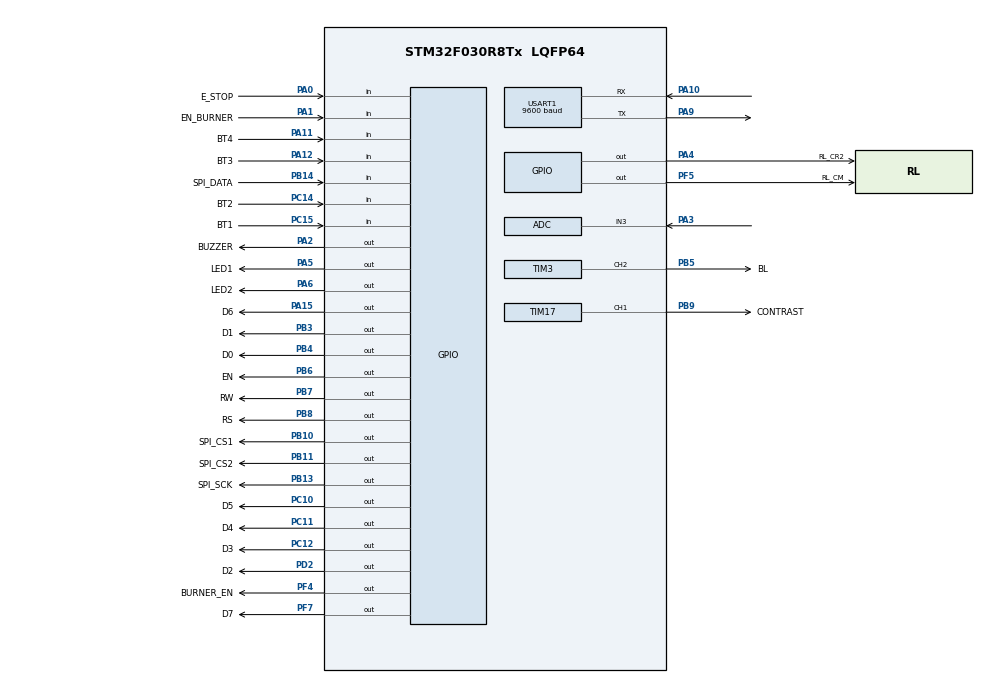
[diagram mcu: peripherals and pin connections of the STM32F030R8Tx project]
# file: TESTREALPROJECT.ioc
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Mcu.Family=STM32F0
Mcu.Name=STM32F030R8Tx
Mcu.Package=LQFP64
NVIC.TIM15_IRQn=true\:0\:0\:false\:false\:true\:true\:true
NVIC.TIM6_IRQn=true\:0\:0\:false\:false\:true\:true\:true
NVIC.USART1_IRQn=true\:0\:0\:false\:false\:true\:true\:true
PA0.GPIO_Label=E_STOP
PA0.GPIO_PuPd=GPIO_PULLUP
PA0.Signal=GPIO_Input
PA1.GPIO_Label=EN_BURNER
PA1.GPIO_PuPd=GPIO_PULLUP
PA1.Signal=GPIO_Input
PA10.Mode=Asynchronous
PA10.Signal=USART1_RX
PA11.GPIO_Label=BT4
PA11.GPIO_PuPd=GPIO_PULLUP
PA11.Signal=GPIO_Input
PA12.GPIO_Label=BT3
PA12.GPIO_PuPd=GPIO_PULLUP
PA12.Signal=GPIO_Input
PA13.Mode=Serial_Wire
PA13.Signal=SYS_SWDIO
PA14.Mode=Serial_Wire
PA14.Signal=SYS_SWCLK
PA15.GPIO_Label=D6
PA15.Signal=GPIO_Output
PA2.GPIO_Label=BUZZER
PA2.Signal=GPIO_Output
PA3.Mode=IN3
PA3.Signal=ADC_IN3
PA4.GPIO_Label=RL_CR2
PA4.Signal=GPIO_Output
PA5.GPIO_Label=LED1
PA5.Signal=GPIO_Output
PA6.GPIO_Label=LED2
PA6.Signal=GPIO_Output
PA9.Mode=Asynchronous
PA9.Signal=USART1_TX
PB10.GPIO_Label=SPI_CS1
PB10.GPIO_PuPd=GPIO_PULLUP
PB10.GPIO_Speed=GPIO_SPEED_FREQ_HIGH
PB10.Signal=GPIO_Output
PB11.GPIO_Label=SPI_CS2
PB11.GPIO_PuPd=GPIO_PULLUP
PB11.GPIO_Speed=GPIO_SPEED_FREQ_HIGH
PB11.Signal=GPIO_Output
PB13.GPIO_Label=SPI_SCK
PB13.GPIO_PuPd=GPIO_PULLDOWN
PB13.GPIO_Speed=GPIO_SPEED_FREQ_HIGH
PB13.Signal=GPIO_Output
PB14.GPIO_Label=SPI_DATA
PB14.GPIO_PuPd=GPIO_PULLDOWN
PB14.Signal=GPIO_Input
PB3.GPIO_Label=D1
PB3.Signal=GPIO_Output
PB4.GPIO_Label=D0
PB4.Signal=GPIO_Output
PB5.GPIO_Label=BL
PB5.Signal=S_TIM3_CH2
PB6.GPIO_Label=EN
PB6.Signal=GPIO_Output
PB7.GPIO_Label=RW
PB7.Signal=GPIO_Output
PB8.GPIO_Label=RS
PB8.Signal=GPIO_Output
PB9.GPIO_Label=CONTRAST
PB9.Signal=S_TIM17_CH1
PC10.GPIO_Label=D5
PC10.Signal=GPIO_Output
PC11.GPIO_Label=D4
PC11.Signal=GPIO_Output
PC12.GPIO_Label=D3
PC12.Signal=GPIO_Output
PC14-OSC32_IN.GPIO_Label=BT2
PC14-OSC32_IN.GPIO_PuPd=GPIO_PULLUP
PC14-OSC32_IN.Signal=GPIO_Input
PC15-OSC32_OUT.GPIO_Label=BT1
PC15-OSC32_OUT.GPIO_PuPd=GPIO_PULLUP
PC15-OSC32_OUT.Signal=GPIO_Input
PD2.GPIO_Label=D2
PD2.Signal=GPIO_Output
PF4.GPIO_Label=BURNER_EN
PF4.Signal=GPIO_Output
PF5.GPIO_Label=RL_CM
PF5.Signal=GPIO_Output
PF7.GPIO_Label=D7
PF7.Signal=GPIO_Output
ProjectManager.HeapSize=0x200
ProjectManager.StackSize=0x400
ProjectManager.TargetToolchain=MDK-ARM V5.27
SH.S_TIM17_CH1.0=TIM17_CH1,PWM Generation1 CH1
SH.S_TIM3_CH2.0=TIM3_CH2,PWM Generation2 CH2
TIM15.Period=19999
TIM15.Prescaler=399
TIM17.Channel=TIM_CHANNEL_1
TIM17.Period=99
TIM17.Prescaler=7
TIM3.Channel-PWM\ Generation2\ CH2=TIM_CHANNEL_2
TIM3.Period=99
TIM3.Prescaler=7
TIM6.Period=49
TIM6.Prescaler=799
USART1.BaudRate=9600
USART1.VirtualMode-Asynchronous=VM_ASYNC
VP_TIM15_VS_ClockSourceINT.Mode=Internal
VP_TIM17_VS_ClockSourceINT.Mode=Enable_Timer
VP_TIM3_VS_ClockSourceINT.Mode=Internal
VP_TIM6_VS_ClockSourceINT.Mode=Enable_Timer
board=custom

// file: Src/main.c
/* USER CODE BEGIN Header */
/**
  ******************************************************************************
  * @file           : main.c
  * @brief          : Main program body
  ******************************************************************************
  * @attention
  *
  * <h2><center>&copy; Copyright (c) 2023 STMicroelectronics.
  * All rights reserved.</center></h2>
  *
  * This software component is licensed by ST under BSD 3-Clause license,
  * the "License"; You may not use this file except in compliance with the
  * License. You may obtain a copy of the License at:
  *                        opensource.org/licenses/BSD-3-Clause
  *
  ******************************************************************************
  */
/* USER CODE END Header */

#include "main.h"

/* USER CODE BEGIN Includes */
#include "kmi_display.h"
#include "MAX31855.h"
#include "adc.h"
#include "button.h"
#include "stdbool.h"
#include "stateMachine.h"
#include "string.h"
#include "flash.h"
/* USER CODE END Includes */

ADC_HandleTypeDef hadc;

TIM_HandleTypeDef htim3;
TIM_HandleTypeDef htim6;
TIM_HandleTypeDef htim15;
TIM_HandleTypeDef htim17;

UART_HandleTypeDef huart1;

void SystemClock_Config(void);
static void MX_GPIO_Init(void);
static void MX_ADC_Init(void);
static void MX_TIM3_Init(void);
static void MX_TIM6_Init(void);
static void MX_TIM15_Init(void);
static void MX_TIM17_Init(void);
static void MX_USART1_UART_Init(void);

/* USER CODE BEGIN 0 */

float gAsphaltTemp = 0;
float gCombustionTemp = 0;
float gVoltageBattery = 0;
bool gTriggerBurnerWork = 0;
buttonCall_t gButton;

uint8_t backDoorReset = 0;
bool gTriggerBackDoorReset = 0;
userInput_t gUserSetInput;
userInput_t gUserSaveDataTemp;
userInput_t userDefaultValue = {750,730,800,0,0,0,1005,1,0};

tickTimer gFlagTimer;

alarmType_t gAlarmSys;

errorType_t asphErrorTher = NONE;
errorType_t combErrorTher = NONE;

/* USER CODE END 0 */

int main(void)
{

  /* MCU Configuration--------------------------------------------------------*/

  /* Reset of all peripherals, Initializes the Flash interface and the Systick. */
  HAL_Init();

  /* Configure the system clock */
  SystemClock_Config();

  /* Initialize all configured peripherals */
  MX_GPIO_Init();
  MX_ADC_Init();
  MX_TIM3_Init();
  MX_TIM6_Init();
  MX_TIM15_Init();
  MX_TIM17_Init();
  MX_USART1_UART_Init();
  /* USER CODE BEGIN 2 */
  memset(&gButton, 1, 4);
  memset(&gAlarmSys, 1, sizeof(alarmType_t));
  HAL_TIM_Base_Start_IT(&htim6);
  HAL_TIM_Base_Start_IT(&htim15);
	readBothSensor(&gAsphaltTemp, &gCombustionTemp, gUserSetInput, &asphErrorTher, &combErrorTher);
  HAL_Delay(100);
  sensorInit();
  kmi_display_init();
  kmi_change_display(STARTUP_PAGE);
  HAL_Delay(1000);
  kmi_change_display(HOME_PAGE);
  userDataInit(&gUserSetInput, &gUserSaveDataTemp, userDefaultValue);

  /* USER CODE END 2 */

  /* Infinite loop */
  while (1)
  {

    /* USER CODE BEGIN 3 */

    if(gFlagTimer.Time_5ms)
    {
      readBatteryVoltage(hadc, &gVoltageBattery);
      readBothSensor(&gAsphaltTemp, &gCombustionTemp, gUserSetInput, &asphErrorTher, &combErrorTher);
      gFlagTimer.Time_5ms = 0;
    }
    if(gFlagTimer.Time_10ms)
    {
      checkAlarmSystem();
      triggerAlarmSignal();
      gFlagTimer.Time_10ms = 0;
    }
    if(gFlagTimer.Time_50ms)
    {
			readButtonWorking(&gButton);
      onScreenDisplay();
      burnerWorkingCondition(gButton);
#if KEEP_DEBUG
      memset(&gButton, 1, 4);
#endif
      gFlagTimer.Time_50ms = 0;
    }
    if(gFlagTimer.Time_100ms)
    {
      reloadPageNeeded();
      gFlagTimer.Time_100ms = 0;
    }
    if(gFlagTimer.Time_500ms)
    {
      HAL_GPIO_TogglePin(LED1_GPIO_Port,LED1_Pin);
      checkButtonLongTimeDepress();
			resetAlarmSignalByButton(&backDoorReset);
      gFlagTimer.Time_500ms = 0;
    }
    if(gFlagTimer.Time_1000ms)
    {
      blinkAlarmLCD();
      gFlagTimer.Time_1000ms = 0;
    }
    if(gFlagTimer.Time_2s)
    {
      HAL_GPIO_TogglePin(LED2_GPIO_Port,LED2_Pin);
      kmi_display_cover_reset_pw(index);
      gFlagTimer.Time_2s = 0;
    }
    if(gFlagTimer.Time_1hr) // cpRuntime count evey 1 hour, and save to flash
    {
      if(gUserSaveDataTemp.burnerDelaySet > 0)
      {
        gUserSaveDataTemp.burnerDelaySet--;
      }
      else if (gUserSaveDataTemp.burnerDelaySet <= 0)
      {
        gUserSaveDataTemp.burnerDelaySet = 0;
      }

      gUserSaveDataTemp.cpRuntime++;
      memcpy(&gUserSetInput, &gUserSaveDataTemp, USER_WRITE_SIZE);
      userInputWriteFlash(gUserSetInput);
      gFlagTimer.Time_1hr = 0;
    }
  }
  /* USER CODE END 3 */
}

void SystemClock_Config(void)
{
  RCC_OscInitTypeDef RCC_OscInitStruct = {0};
  RCC_ClkInitTypeDef RCC_ClkInitStruct = {0};
  RCC_PeriphCLKInitTypeDef PeriphClkInit = {0};

  /** Initializes the CPU, AHB and APB busses clocks
  */
  RCC_OscInitStruct.OscillatorType = RCC_OSCILLATORTYPE_HSI|RCC_OSCILLATORTYPE_HSI14;
  RCC_OscInitStruct.HSIState = RCC_HSI_ON;
  RCC_OscInitStruct.HSI14State = RCC_HSI14_ON;
  RCC_OscInitStruct.HSICalibrationValue = RCC_HSICALIBRATION_DEFAULT;
  RCC_OscInitStruct.HSI14CalibrationValue = 16;
  RCC_OscInitStruct.PLL.PLLState = RCC_PLL_NONE;
  if (HAL_RCC_OscConfig(&RCC_OscInitStruct) != HAL_OK)
  {
    Error_Handler();
  }
  /** Initializes the CPU, AHB and APB busses clocks
  */
  RCC_ClkInitStruct.ClockType = RCC_CLOCKTYPE_HCLK|RCC_CLOCKTYPE_SYSCLK
                              |RCC_CLOCKTYPE_PCLK1;
  RCC_ClkInitStruct.SYSCLKSource = RCC_SYSCLKSOURCE_HSI;
  RCC_ClkInitStruct.AHBCLKDivider = RCC_SYSCLK_DIV1;
  RCC_ClkInitStruct.APB1CLKDivider = RCC_HCLK_DIV1;

  if (HAL_RCC_ClockConfig(&RCC_ClkInitStruct, FLASH_LATENCY_0) != HAL_OK)
  {
    Error_Handler();
  }
  PeriphClkInit.PeriphClockSelection = RCC_PERIPHCLK_USART1;
  PeriphClkInit.Usart1ClockSelection = RCC_USART1CLKSOURCE_PCLK1;
  if (HAL_RCCEx_PeriphCLKConfig(&PeriphClkInit) != HAL_OK)
  {
    Error_Handler();
  }
}

static void MX_ADC_Init(void)
{

  ADC_ChannelConfTypeDef sConfig = {0};

  /** Configure the global features of the ADC (Clock, Resolution, Data Alignment and number of conversion)
  */
  hadc.Instance = ADC1;
  hadc.Init.ClockPrescaler = ADC_CLOCK_ASYNC_DIV1;
  hadc.Init.Resolution = ADC_RESOLUTION_12B;
  hadc.Init.DataAlign = ADC_DATAALIGN_RIGHT;
  hadc.Init.ScanConvMode = ADC_SCAN_DIRECTION_FORWARD;
  hadc.Init.EOCSelection = ADC_EOC_SINGLE_CONV;
  hadc.Init.LowPowerAutoWait = DISABLE;
  hadc.Init.LowPowerAutoPowerOff = DISABLE;
  hadc.Init.ContinuousConvMode = DISABLE;
  hadc.Init.DiscontinuousConvMode = DISABLE;
  hadc.Init.ExternalTrigConv = ADC_SOFTWARE_START;
  hadc.Init.ExternalTrigConvEdge = ADC_EXTERNALTRIGCONVEDGE_NONE;
  hadc.Init.DMAContinuousRequests = DISABLE;
  hadc.Init.Overrun = ADC_OVR_DATA_PRESERVED;
  if (HAL_ADC_Init(&hadc) != HAL_OK)
  {
    Error_Handler();
  }
  /** Configure for the selected ADC regular channel to be converted.
  */
  sConfig.Channel = ADC_CHANNEL_3;
  sConfig.Rank = ADC_RANK_CHANNEL_NUMBER;
  sConfig.SamplingTime = ADC_SAMPLETIME_1CYCLE_5;
  if (HAL_ADC_ConfigChannel(&hadc, &sConfig) != HAL_OK)
  {
    Error_Handler();
  }

}

static void MX_TIM3_Init(void)
{

  TIM_ClockConfigTypeDef sClockSourceConfig = {0};
  TIM_MasterConfigTypeDef sMasterConfig = {0};
  TIM_OC_InitTypeDef sConfigOC = {0};

  htim3.Instance = TIM3;
  htim3.Init.Prescaler = 7;
  htim3.Init.CounterMode = TIM_COUNTERMODE_UP;
  htim3.Init.Period = 99;
  htim3.Init.ClockDivision = TIM_CLOCKDIVISION_DIV1;
  htim3.Init.AutoReloadPreload = TIM_AUTORELOAD_PRELOAD_DISABLE;
  if (HAL_TIM_Base_Init(&htim3) != HAL_OK)
  {
    Error_Handler();
  }
  sClockSourceConfig.ClockSource = TIM_CLOCKSOURCE_INTERNAL;
  if (HAL_TIM_ConfigClockSource(&htim3, &sClockSourceConfig) != HAL_OK)
  {
    Error_Handler();
  }
  if (HAL_TIM_PWM_Init(&htim3) != HAL_OK)
  {
    Error_Handler();
  }
  sMasterConfig.MasterOutputTrigger = TIM_TRGO_RESET;
  sMasterConfig.MasterSlaveMode = TIM_MASTERSLAVEMODE_DISABLE;
  if (HAL_TIMEx_MasterConfigSynchronization(&htim3, &sMasterConfig) != HAL_OK)
  {
    Error_Handler();
  }
  sConfigOC.OCMode = TIM_OCMODE_PWM1;
  sConfigOC.Pulse = 0;
  sConfigOC.OCPolarity = TIM_OCPOLARITY_HIGH;
  sConfigOC.OCFastMode = TIM_OCFAST_DISABLE;
  if (HAL_TIM_PWM_ConfigChannel(&htim3, &sConfigOC, TIM_CHANNEL_2) != HAL_OK)
  {
    Error_Handler();
  }
  HAL_TIM_MspPostInit(&htim3);

}

static void MX_TIM6_Init(void)
{

  htim6.Instance = TIM6;
  htim6.Init.Prescaler = 799;
  htim6.Init.CounterMode = TIM_COUNTERMODE_UP;
  htim6.Init.Period = 49;
  htim6.Init.AutoReloadPreload = TIM_AUTORELOAD_PRELOAD_DISABLE;
  if (HAL_TIM_Base_Init(&htim6) != HAL_OK)
  {
    Error_Handler();
  }

}

static void MX_TIM15_Init(void)
{

  TIM_ClockConfigTypeDef sClockSourceConfig = {0};
  TIM_MasterConfigTypeDef sMasterConfig = {0};

  htim15.Instance = TIM15;
  htim15.Init.Prescaler = 399;
  htim15.Init.CounterMode = TIM_COUNTERMODE_UP;
  htim15.Init.Period = 19999;
  htim15.Init.ClockDivision = TIM_CLOCKDIVISION_DIV1;
  htim15.Init.RepetitionCounter = 0;
  htim15.Init.AutoReloadPreload = TIM_AUTORELOAD_PRELOAD_DISABLE;
  if (HAL_TIM_Base_Init(&htim15) != HAL_OK)
  {
    Error_Handler();
  }
  sClockSourceConfig.ClockSource = TIM_CLOCKSOURCE_INTERNAL;
  if (HAL_TIM_ConfigClockSource(&htim15, &sClockSourceConfig) != HAL_OK)
  {
    Error_Handler();
  }
  sMasterConfig.MasterOutputTrigger = TIM_TRGO_RESET;
  sMasterConfig.MasterSlaveMode = TIM_MASTERSLAVEMODE_DISABLE;
  if (HAL_TIMEx_MasterConfigSynchronization(&htim15, &sMasterConfig) != HAL_OK)
  {
    Error_Handler();
  }

}

static void MX_TIM17_Init(void)
{

  TIM_OC_InitTypeDef sConfigOC = {0};
  TIM_BreakDeadTimeConfigTypeDef sBreakDeadTimeConfig = {0};

  htim17.Instance = TIM17;
  htim17.Init.Prescaler = 7;
  htim17.Init.CounterMode = TIM_COUNTERMODE_UP;
  htim17.Init.Period = 99;
  htim17.Init.ClockDivision = TIM_CLOCKDIVISION_DIV1;
  htim17.Init.RepetitionCounter = 0;
  htim17.Init.AutoReloadPreload = TIM_AUTORELOAD_PRELOAD_DISABLE;
  if (HAL_TIM_Base_Init(&htim17) != HAL_OK)
  {
    Error_Handler();
  }
  if (HAL_TIM_PWM_Init(&htim17) != HAL_OK)
  {
    Error_Handler();
  }
  sConfigOC.OCMode = TIM_OCMODE_PWM1;
  sConfigOC.Pulse = 0;
  sConfigOC.OCPolarity = TIM_OCPOLARITY_HIGH;
  sConfigOC.OCNPolarity = TIM_OCNPOLARITY_HIGH;
  sConfigOC.OCFastMode = TIM_OCFAST_DISABLE;
  sConfigOC.OCIdleState = TIM_OCIDLESTATE_RESET;
  sConfigOC.OCNIdleState = TIM_OCNIDLESTATE_RESET;
  if (HAL_TIM_PWM_ConfigChannel(&htim17, &sConfigOC, TIM_CHANNEL_1) != HAL_OK)
  {
    Error_Handler();
  }
  sBreakDeadTimeConfig.OffStateRunMode = TIM_OSSR_DISABLE;
  sBreakDeadTimeConfig.OffStateIDLEMode = TIM_OSSI_DISABLE;
  sBreakDeadTimeConfig.LockLevel = TIM_LOCKLEVEL_OFF;
  sBreakDeadTimeConfig.DeadTime = 0;
  sBreakDeadTimeConfig.BreakState = TIM_BREAK_DISABLE;
  sBreakDeadTimeConfig.BreakPolarity = TIM_BREAKPOLARITY_HIGH;
  sBreakDeadTimeConfig.AutomaticOutput = TIM_AUTOMATICOUTPUT_DISABLE;
  if (HAL_TIMEx_ConfigBreakDeadTime(&htim17, &sBreakDeadTimeConfig) != HAL_OK)
  {
    Error_Handler();
  }
  HAL_TIM_MspPostInit(&htim17);

}

static void MX_USART1_UART_Init(void)
{

  huart1.Instance = USART1;
  huart1.Init.BaudRate = 9600;
  huart1.Init.WordLength = UART_WORDLENGTH_8B;
  huart1.Init.StopBits = UART_STOPBITS_1;
  huart1.Init.Parity = UART_PARITY_NONE;
  huart1.Init.Mode = UART_MODE_TX_RX;
  huart1.Init.HwFlowCtl = UART_HWCONTROL_NONE;
  huart1.Init.OverSampling = UART_OVERSAMPLING_16;
  huart1.Init.OneBitSampling = UART_ONE_BIT_SAMPLE_DISABLE;
  huart1.AdvancedInit.AdvFeatureInit = UART_ADVFEATURE_NO_INIT;
  if (HAL_UART_Init(&huart1) != HAL_OK)
  {
    Error_Handler();
  }

}

static void MX_GPIO_Init(void)
{
  GPIO_InitTypeDef GPIO_InitStruct = {0};

  /* GPIO Ports Clock Enable */
  __HAL_RCC_GPIOC_CLK_ENABLE();
  __HAL_RCC_GPIOA_CLK_ENABLE();
  __HAL_RCC_GPIOF_CLK_ENABLE();
  __HAL_RCC_GPIOB_CLK_ENABLE();
  __HAL_RCC_GPIOD_CLK_ENABLE();

  /*Configure GPIO pin Output Level */
  HAL_GPIO_WritePin(GPIOA, BUZZER_Pin|RL_CR2_Pin|LED1_Pin|LED2_Pin
                          |D6_Pin, GPIO_PIN_RESET);

  /*Configure GPIO pin Output Level */
  HAL_GPIO_WritePin(GPIOF, BURNER_EN_Pin|RL_CM_Pin|D7_Pin, GPIO_PIN_RESET);

  /*Configure GPIO pin Output Level */
  HAL_GPIO_WritePin(GPIOB, SPI_CS1_Pin|SPI_CS2_Pin|SPI_SCK_Pin|D1_Pin
                          |D0_Pin|EN_Pin|RW_Pin|RS_Pin, GPIO_PIN_RESET);

  /*Configure GPIO pin Output Level */
  HAL_GPIO_WritePin(GPIOC, D5_Pin|D4_Pin|D3_Pin, GPIO_PIN_RESET);

  /*Configure GPIO pin Output Level */
  HAL_GPIO_WritePin(D2_GPIO_Port, D2_Pin, GPIO_PIN_RESET);

  /*Configure GPIO pins : BT2_Pin BT1_Pin */
  GPIO_InitStruct.Pin = BT2_Pin|BT1_Pin;
  GPIO_InitStruct.Mode = GPIO_MODE_INPUT;
  GPIO_InitStruct.Pull = GPIO_PULLUP;
  HAL_GPIO_Init(GPIOC, &GPIO_InitStruct);

  /*Configure GPIO pins : E_STOP_Pin EN_BURNER_Pin BT4_Pin BT3_Pin */
  GPIO_InitStruct.Pin = E_STOP_Pin|EN_BURNER_Pin|BT4_Pin|BT3_Pin;
  GPIO_InitStruct.Mode = GPIO_MODE_INPUT;
  GPIO_InitStruct.Pull = GPIO_PULLUP;
  HAL_GPIO_Init(GPIOA, &GPIO_InitStruct);

  /*Configure GPIO pins : BUZZER_Pin RL_CR2_Pin LED1_Pin LED2_Pin
                           D6_Pin */
  GPIO_InitStruct.Pin = BUZZER_Pin|RL_CR2_Pin|LED1_Pin|LED2_Pin
                          |D6_Pin;
  GPIO_InitStruct.Mode = GPIO_MODE_OUTPUT_PP;
  GPIO_InitStruct.Pull = GPIO_NOPULL;
  GPIO_InitStruct.Speed = GPIO_SPEED_FREQ_LOW;
  HAL_GPIO_Init(GPIOA, &GPIO_InitStruct);

  /*Configure GPIO pins : BURNER_EN_Pin RL_CM_Pin D7_Pin */
  GPIO_InitStruct.Pin = BURNER_EN_Pin|RL_CM_Pin|D7_Pin;
  GPIO_InitStruct.Mode = GPIO_MODE_OUTPUT_PP;
  GPIO_InitStruct.Pull = GPIO_NOPULL;
  GPIO_InitStruct.Speed = GPIO_SPEED_FREQ_LOW;
  HAL_GPIO_Init(GPIOF, &GPIO_InitStruct);

  /*Configure GPIO pins : SPI_CS1_Pin SPI_CS2_Pin */
  GPIO_InitStruct.Pin = SPI_CS1_Pin|SPI_CS2_Pin;
  GPIO_InitStruct.Mode = GPIO_MODE_OUTPUT_PP;
  GPIO_InitStruct.Pull = GPIO_PULLUP;
  GPIO_InitStruct.Speed = GPIO_SPEED_FREQ_HIGH;
  HAL_GPIO_Init(GPIOB, &GPIO_InitStruct);

  /*Configure GPIO pin : SPI_SCK_Pin */
  GPIO_InitStruct.Pin = SPI_SCK_Pin;
  GPIO_InitStruct.Mode = GPIO_MODE_OUTPUT_PP;
  GPIO_InitStruct.Pull = GPIO_PULLDOWN;
  GPIO_InitStruct.Speed = GPIO_SPEED_FREQ_HIGH;
  HAL_GPIO_Init(SPI_SCK_GPIO_Port, &GPIO_InitStruct);

  /*Configure GPIO pin : SPI_DATA_Pin */
  GPIO_InitStruct.Pin = SPI_DATA_Pin;
  GPIO_InitStruct.Mode = GPIO_MODE_INPUT;
  GPIO_InitStruct.Pull = GPIO_PULLDOWN;
  HAL_GPIO_Init(SPI_DATA_GPIO_Port, &GPIO_InitStruct);

  /*Configure GPIO pins : D5_Pin D4_Pin D3_Pin */
  GPIO_InitStruct.Pin = D5_Pin|D4_Pin|D3_Pin;
  GPIO_InitStruct.Mode = GPIO_MODE_OUTPUT_PP;
  GPIO_InitStruct.Pull = GPIO_NOPULL;
  GPIO_InitStruct.Speed = GPIO_SPEED_FREQ_LOW;
  HAL_GPIO_Init(GPIOC, &GPIO_InitStruct);

  /*Configure GPIO pin : D2_Pin */
  GPIO_InitStruct.Pin = D2_Pin;
  GPIO_InitStruct.Mode = GPIO_MODE_OUTPUT_PP;
  GPIO_InitStruct.Pull = GPIO_NOPULL;
  GPIO_InitStruct.Speed = GPIO_SPEED_FREQ_LOW;
  HAL_GPIO_Init(D2_GPIO_Port, &GPIO_InitStruct);

  /*Configure GPIO pins : D1_Pin D0_Pin EN_Pin RW_Pin
                           RS_Pin */
  GPIO_InitStruct.Pin = D1_Pin|D0_Pin|EN_Pin|RW_Pin
                          |RS_Pin;
  GPIO_InitStruct.Mode = GPIO_MODE_OUTPUT_PP;
  GPIO_InitStruct.Pull = GPIO_NOPULL;
  GPIO_InitStruct.Speed = GPIO_SPEED_FREQ_LOW;
  HAL_GPIO_Init(GPIOB, &GPIO_InitStruct);

}

void Error_Handler(void)
{
}

/************************ (C) COPYRIGHT STMicroelectronics *****END OF FILE****/
